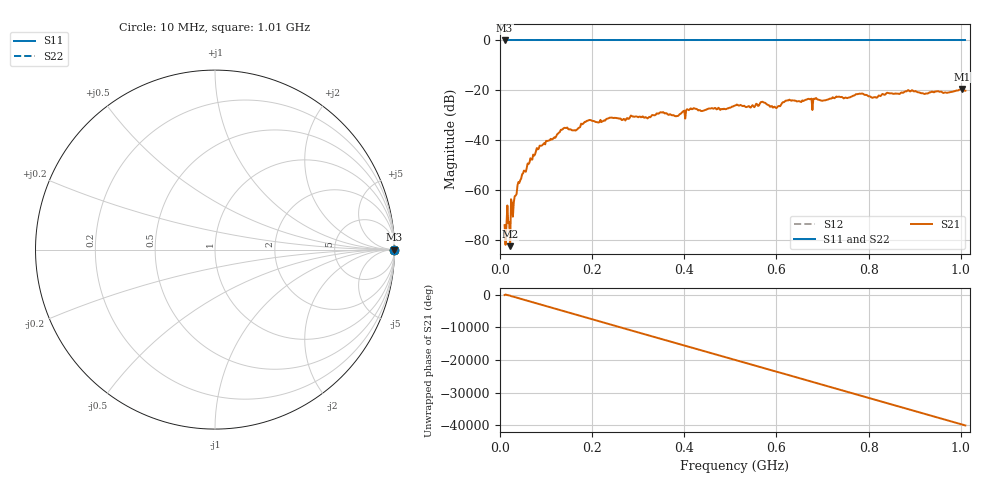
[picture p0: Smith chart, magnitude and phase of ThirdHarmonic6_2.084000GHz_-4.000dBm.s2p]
! 8/17/2025 12:56:50 AM
! C:\ANRITSUVNA\TEMP\TEMP.S2P
! CHANNEL.1
! TR.MEASUREMENT
! RAW.DATA
! RF.CORRECTION.OFF
! AVERAGING.OFF
! IF.BANDWIDTH: 5KHZ
! SWEEPTYPE:  FREQ.SWEEP(Linear)
! Reference Plane Port Info
! PORT:  PORT1  PORT2
! DISTANCE:  0  m  0  m
! TIME:  0  s  0  s
! PHASE.OFFSET:  0  deg.  0  deg.
! LOSS:  0  dB  0  dB
! REF.LOSS:  0  dB  0  dB
! REF.FREQ:  0  Hz  0  Hz
! Power Info
! POWER:  -20  dBm  -20  dBm
! EFF.POWER:  -20  dBm  -20  dBm
! SOURCE.ATTEN:  0  dB  0  dB
! TEST.ATTEN:  0  dB  0  dB
# GHZ S RI R 50.0
! FREQ.GHZ  S11RE  S11IM  S21RE  S21IM  S12RE  S12IM  S22RE  S22IM
!; PortSelection: Port_12
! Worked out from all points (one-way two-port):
!   501 points, 10 MHz to 1.01 GHz, reference 50 ohm
!   highest |S21| = -19.51 dB at 1.002 GHz (marker M1); lowest = -82.5 dB at 22 MHz (marker M2)
!   lowest |S11| = 0.0 dB at 10 MHz (marker M3)
!   |S11| at or under -10 dB: nowhere
!   |S22| runs from 0.0 to 0.0 dB; largest |S21 - S12| = 1.1
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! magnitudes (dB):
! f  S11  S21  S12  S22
! 10 MHz  0.0  -74.1  0.0  0.0
! 22 MHz  0.0  -82.5  0.0  0.0
! 26 MHz  0.0  -65.3  0.0  0.0
! 28 MHz  0.0  -70.7  0.0  0.0
! 32 MHz  0.0  -62.4  0.0  0.0
! 42 MHz  0.0  -57.2  0.0  0.0
! 82 MHz  0.0  -43.7  0.0  0.0
! 136 MHz  0.0  -35.7  0.0  0.0
! 162 MHz  0.0  -36.0  0.0  0.0
! 178 MHz  0.0  -33.6  0.0  0.0
! 344 MHz  0.0  -29.4  0.0  0.0
! 384 MHz  0.0  -30.3  0.0  0.0
! 416 MHz  0.0  -27.6  0.0  0.0
! 510 MHz  0.0  -26.1  0.0  0.0
! 548 MHz  0.0  -26.0  0.0  0.0
! 570 MHz  0.0  -24.6  0.0  0.0
! 596 MHz  0.0  -26.6  0.0  0.0
! 624 MHz  0.0  -24.0  0.0  0.0
! 678 MHz  0.0  -27.9  0.0  0.0
! 844 MHz  0.0  -21.2  0.0  0.0
! 1.002 GHz  0.0  -19.5  0.0  0.0
! 1.01 GHz  0.0  -20.2  0.0  0.0
